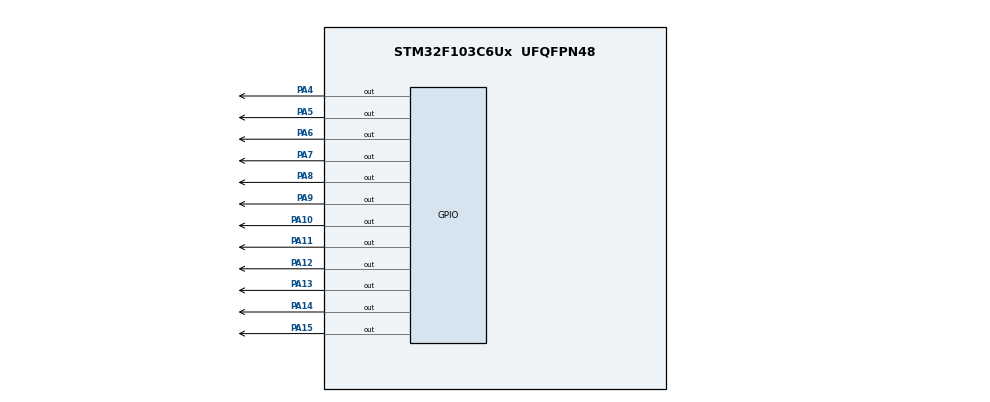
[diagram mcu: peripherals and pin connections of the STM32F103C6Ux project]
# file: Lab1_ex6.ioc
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Mcu.Family=STM32F1
Mcu.Name=STM32F103C6Ux
Mcu.Package=UFQFPN48
NVIC.PriorityGroup=NVIC_PRIORITYGROUP_4
PA10.Signal=GPIO_Output
PA11.Signal=GPIO_Output
PA12.Signal=GPIO_Output
PA13.Signal=GPIO_Output
PA14.Signal=GPIO_Output
PA15.Signal=GPIO_Output
PA4.Signal=GPIO_Output
PA5.Signal=GPIO_Output
PA6.Signal=GPIO_Output
PA7.Signal=GPIO_Output
PA8.Signal=GPIO_Output
PA9.Signal=GPIO_Output
ProjectManager.HeapSize=0x200
ProjectManager.StackSize=0x400
ProjectManager.TargetToolchain=STM32CubeIDE
RCC.APB1Freq_Value=8000000
RCC.APB2Freq_Value=8000000
VP_SYS_VS_ND.Mode=No_Debug
board=custom

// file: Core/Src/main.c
	/* USER CODE BEGIN Header */
/**
  ******************************************************************************
  * @file           : main.c
  * @brief          : Main program body
  ******************************************************************************
  * @attention
  *
  * <h2><center>&copy; Copyright (c) 2025 STMicroelectronics.
  * All rights reserved.</center></h2>
  *
  * This software component is licensed by ST under BSD 3-Clause license,
  * the "License"; You may not use this file except in compliance with the
  * License. You may obtain a copy of the License at:
  *                        opensource.org/licenses/BSD-3-Clause
  *
  ******************************************************************************
  */
/* USER CODE END Header */
#include "main.h"

void SystemClock_Config(void);
static void MX_GPIO_Init(void);

/* USER CODE BEGIN 0 */
uint16_t LED_Pins[] = {
    GPIO_PIN_4, GPIO_PIN_5, GPIO_PIN_6, GPIO_PIN_7,
    GPIO_PIN_8, GPIO_PIN_9, GPIO_PIN_10, GPIO_PIN_11,
    GPIO_PIN_12, GPIO_PIN_13, GPIO_PIN_14, GPIO_PIN_15
};

void Test_LEDs()
{
  for (int i = 0; i < 12; i++)
  {
    HAL_GPIO_WritePin(GPIOA, LED_Pins[i], GPIO_PIN_RESET);
    HAL_Delay(1000);
  }
}

void clearAllClock()
{
  for (int i = 0; i < 12; i++)
  {
    HAL_GPIO_WritePin(GPIOA, LED_Pins[i], GPIO_PIN_SET);
  }
}

void setNumberOnClock(int num)
{
	if (num < 0 || num >= 12) return;
	HAL_GPIO_WritePin(GPIOA, LED_Pins[num], GPIO_PIN_RESET);
}

void clearNumberOnClock(int num)
{
  if (num < 0 || num >= 12) return;
  HAL_GPIO_WritePin(GPIOA, LED_Pins[num], GPIO_PIN_SET);
}
/* USER CODE END 0 */

int main(void)
{

  /* MCU Configuration--------------------------------------------------------*/

  /* Reset of all peripherals, Initializes the Flash interface and the Systick. */
  HAL_Init();

  /* Configure the system clock */
  SystemClock_Config();

  /* Initialize all configured peripherals */
  MX_GPIO_Init();

  /* Infinite loop */
  /* USER CODE BEGIN WHILE */
  while (1)
  {
	  clearAllClock();
	  Test_LEDs();
	  //setNumberOnClock(11);
	  //clearNumberOnClock(10);

    /* USER CODE END WHILE */

  }
}

void SystemClock_Config(void)
{
  RCC_OscInitTypeDef RCC_OscInitStruct = {0};
  RCC_ClkInitTypeDef RCC_ClkInitStruct = {0};

  /** Initializes the RCC Oscillators according to the specified parameters
  * in the RCC_OscInitTypeDef structure.
  */
  RCC_OscInitStruct.OscillatorType = RCC_OSCILLATORTYPE_HSI;
  RCC_OscInitStruct.HSIState = RCC_HSI_ON;
  RCC_OscInitStruct.HSICalibrationValue = RCC_HSICALIBRATION_DEFAULT;
  RCC_OscInitStruct.PLL.PLLState = RCC_PLL_NONE;
  if (HAL_RCC_OscConfig(&RCC_OscInitStruct) != HAL_OK)
  {
    Error_Handler();
  }
  /** Initializes the CPU, AHB and APB buses clocks
  */
  RCC_ClkInitStruct.ClockType = RCC_CLOCKTYPE_HCLK|RCC_CLOCKTYPE_SYSCLK
                              |RCC_CLOCKTYPE_PCLK1|RCC_CLOCKTYPE_PCLK2;
  RCC_ClkInitStruct.SYSCLKSource = RCC_SYSCLKSOURCE_HSI;
  RCC_ClkInitStruct.AHBCLKDivider = RCC_SYSCLK_DIV1;
  RCC_ClkInitStruct.APB1CLKDivider = RCC_HCLK_DIV1;
  RCC_ClkInitStruct.APB2CLKDivider = RCC_HCLK_DIV1;

  if (HAL_RCC_ClockConfig(&RCC_ClkInitStruct, FLASH_LATENCY_0) != HAL_OK)
  {
    Error_Handler();
  }
}

static void MX_GPIO_Init(void)
{
  GPIO_InitTypeDef GPIO_InitStruct = {0};

  /* GPIO Ports Clock Enable */
  __HAL_RCC_GPIOA_CLK_ENABLE();

  /*Configure GPIO pin Output Level */
  HAL_GPIO_WritePin(GPIOA, GPIO_PIN_4|GPIO_PIN_5|GPIO_PIN_6|GPIO_PIN_7
                          |GPIO_PIN_8|GPIO_PIN_9|GPIO_PIN_10|GPIO_PIN_11
                          |GPIO_PIN_12|GPIO_PIN_13|GPIO_PIN_14|GPIO_PIN_15, GPIO_PIN_RESET);

  /*Configure GPIO pins : PA4 PA5 PA6 PA7
                           PA8 PA9 PA10 PA11
                           PA12 PA13 PA14 PA15 */
  GPIO_InitStruct.Pin = GPIO_PIN_4|GPIO_PIN_5|GPIO_PIN_6|GPIO_PIN_7
                          |GPIO_PIN_8|GPIO_PIN_9|GPIO_PIN_10|GPIO_PIN_11
                          |GPIO_PIN_12|GPIO_PIN_13|GPIO_PIN_14|GPIO_PIN_15;
  GPIO_InitStruct.Mode = GPIO_MODE_OUTPUT_PP;
  GPIO_InitStruct.Pull = GPIO_NOPULL;
  GPIO_InitStruct.Speed = GPIO_SPEED_FREQ_LOW;
  HAL_GPIO_Init(GPIOA, &GPIO_InitStruct);

}

void Error_Handler(void)
{
  __disable_irq();
  while (1)
  {
  }
}

/************************ (C) COPYRIGHT STMicroelectronics *****END OF FILE****/
